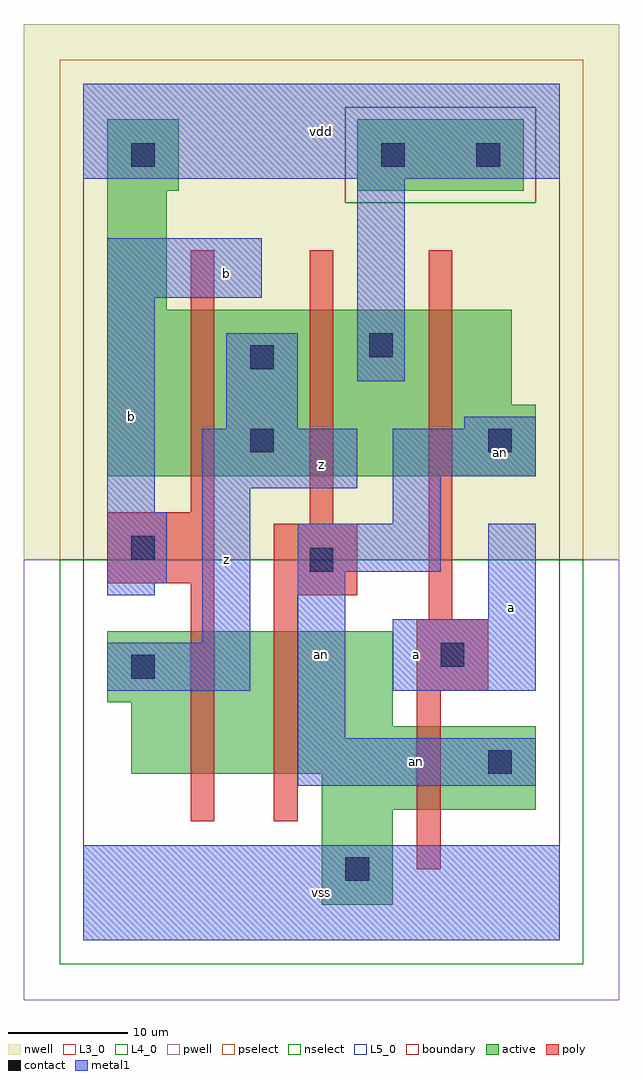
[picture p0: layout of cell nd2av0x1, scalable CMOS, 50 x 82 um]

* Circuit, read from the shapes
.subckt nd2av0x1 a an b vdd vss z
M1 n1 b z VSUBS nfet w=12u l=2u
M2 vss an n1 VSUBS nfet w=12u l=2u
M3 an a vss VSUBS nfet w=7u l=2u
M4 z b vdd vdd pfet w=14u l=2u
M5 vdd an z vdd pfet w=14u l=2u
M6 an a vdd vdd pfet w=14u l=2u
.ends

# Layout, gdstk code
import gdstk
lib = gdstk.Library(unit=1e-6, precision=1e-09)
def R(c, l, rs):  # rectangles x0, y0, x1, y1
    for r in rs: c.add(gdstk.rectangle(r[:2], r[2:], *l))
L3_0 = (3, 0)
L4_0 = (4, 0)
L5_0 = (5, 0)
contact = (25, 0)
pwell = (41, 0)
nwell = (42, 0)
active = (43, 0)
pselect = (44, 0)
nselect = (45, 0)
poly = (46, 0)
metal1 = (49, 0)
boundary = (63, 0)

nd2av0x1 = lib.new_cell('nd2av0x1')
R(nd2av0x1, L3_0, [(20,3,26,11), (20,11,38,14), (4,14,38,18), (4,18,26,20), (2,20,26,26)])
R(nd2av0x1, L4_0, [(2,39,38,45), (2,45,36,53), (2,53,7,63), (2,63,8,69)])
R(nd2av0x1, L5_0, [(23,63,37,69)])
R(nd2av0x1, contact, [(22,5,24,7), (34,14,36,16), (4,22,6,24), (30,23,32,25), (19,31,21,33), (4,32,6,34), (14,41,16,43), (34,41,36,43), (14,48,16,50), (24,49,26,51), (4,65,6,67), (25,65,27,67), (33,65,35,67)])
R(nd2av0x1, pwell, [(-5,-5,45,32)])
R(nd2av0x1, nwell, [(-5,32,45,77)])
R(nd2av0x1, active, [(20,3,26,11), (20,11,38,14), (4,14,38,18), (4,18,26,20), (2,20,26,26), (2,39,38,45), (2,45,36,53), (2,53,7,63), (2,63,8,69), (23,63,37,69)])
R(nd2av0x1, pselect, [(-2,32,42,62), (-2,62,22,70), (38,62,42,70), (-2,70,42,74)])
R(nd2av0x1, nselect, [(-2,-2,42,32), (22,62,38,70)])
R(nd2av0x1, poly, [(28,6,30,21), (9,10,11,30), (16,10,18,29), (28,21,34,27), (29,27,31,58), (16,29,23,35), (2,30,11,36), (19,35,21,58), (9,36,11,58)])
R(nd2av0x1, metal1, [(0,0,40,8), (18,13,38,17), (18,17,22,31), (2,21,14,25), (26,21,38,27), (10,25,14,38), (34,27,38,35), (2,29,6,30), (2,30,7,36), (18,31,30,35), (26,35,30,39), (2,36,6,54), (10,38,23,43), (26,39,38,43), (12,43,18,51), (32,43,38,44), (23,47,27,64), (2,54,15,59), (0,64,40,72)])
R(nd2av0x1, boundary, [(0,0,40,72)])
nd2av0x1.add(gdstk.Label('an', (20,24), layer=49, texttype=0))
nd2av0x1.add(gdstk.Label('an', (28,15), layer=49, texttype=0))
nd2av0x1.add(gdstk.Label('an', (35,41), layer=49, texttype=0))
nd2av0x1.add(gdstk.Label('b', (4,44), layer=49, texttype=0))
nd2av0x1.add(gdstk.Label('z', (12,32), layer=49, texttype=0))
nd2av0x1.add(gdstk.Label('b', (12,56), layer=49, texttype=0))
nd2av0x1.add(gdstk.Label('vss', (20,4), layer=49, texttype=0))
nd2av0x1.add(gdstk.Label('a', (28,24), layer=49, texttype=0))
nd2av0x1.add(gdstk.Label('z', (20,40), layer=49, texttype=0))
nd2av0x1.add(gdstk.Label('vdd', (20,68), layer=49, texttype=0))
nd2av0x1.add(gdstk.Label('a', (36,28), layer=49, texttype=0))

lib.write_gds('nd2av0x1.gds')
